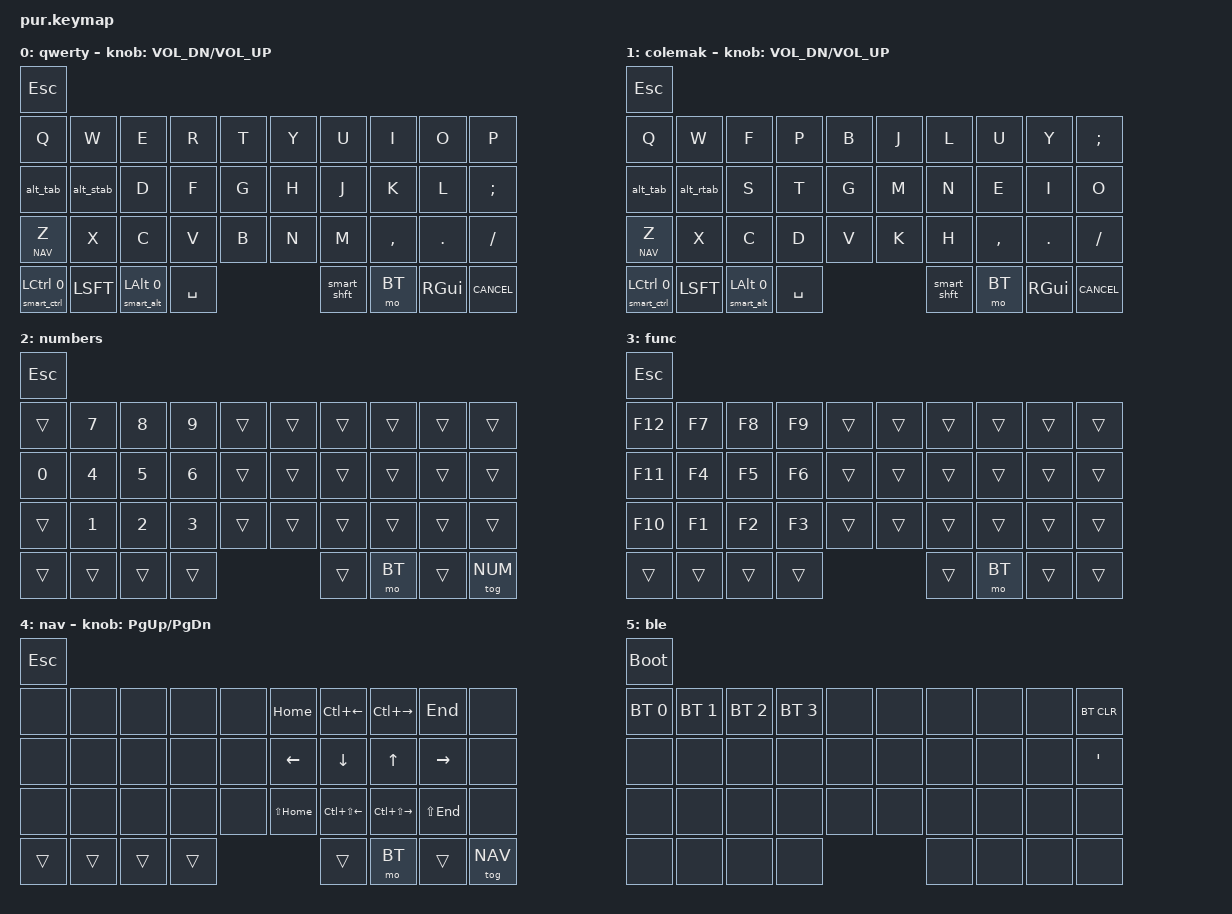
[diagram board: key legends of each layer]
#include <behaviors.dtsi>
#include <dt-bindings/zmk/keys.h>
#include <dt-bindings/zmk/bt.h>

#include "../../../../zmk-nodefree-config/helper.h"

#define QWERTY 0
#define COLEMAK 1
#define NUM 2
#define FUNC 3
#define NAV 4
#define BT 5
 
/* num layer switch */
// ZMK_BEHAVIOR(num_dance, hold_tap, flavor = "balanced", bindings = <&tog>, <&sl>;       tapping-term-ms = <200>; quick-tap-ms = <200>;)

/ {
    behaviors {
        num_dance: num_dance_hold_tap {
            compatible = "zmk,behavior-hold-tap";
            #binding-cells = <2>;
            flavor = "balanced";
            tapping-term-ms = <150>;
            quick-tap-ms = <200>;
            bindings = <&tog>, <&sl>;
        };
    };
};

#include "combos.dtsi"

&sk {
    release-after-ms = <800>;
    quick-release;
};

/* parentheses, braces, brackets, chevrons morphs */
ZMK_BEHAVIOR(lparchev, mod_morph, bindings = <&kp LPAR>, <&kp LT>; mods = <(MOD_LSFT)>;)
ZMK_BEHAVIOR(rparchev, mod_morph, bindings = <&kp RPAR>, <&kp GT>; mods = <(MOD_LSFT)>;)
ZMK_BEHAVIOR(lbrkbrc, mod_morph, bindings = <&kp LBKT>, <&kp LBRC>; mods = <(MOD_LSFT)>;)
ZMK_BEHAVIOR(rbrkbrc, mod_morph, bindings = <&kp RBKT>, <&kp RBRC>; mods = <(MOD_LSFT)>;)

/* caps word morph */
ZMK_BEHAVIOR(smart_shft, mod_morph, bindings = <&sk RSFT>, <&kp CAPS>; mods = <(MOD_RSFT)>;)

/* LALT morphs */
ZMK_BEHAVIOR(alt_tab, mod_morph, bindings = <&kp A>, <&kp TAB>; mods = <(MOD_LALT)>; keep-mods = <(MOD_LALT)>;)
ZMK_BEHAVIOR(alt_stab, mod_morph, bindings = <&kp S>, <&kp LS(TAB)>; mods = <(MOD_LALT)>; keep-mods = <(MOD_LALT)>;)
ZMK_BEHAVIOR(alt_rtab, mod_morph, bindings = <&kp R>, <&kp LS(TAB)>; mods = <(MOD_LALT)>; keep-mods = <(MOD_LALT)>;)

/* smart modifiers */
ZMK_BEHAVIOR(dance_ctrl, tap_dance, bindings = <&kp LCTRL>, <&kp LC(LSFT)>; tapping-term-ms = <200>;)
ZMK_BEHAVIOR(dance_alt, tap_dance, bindings = <&kp LGUI>, <&kp LGUI>; tapping-term-ms = <200>;)
ZMK_BEHAVIOR(smart_ctrl, hold_tap, flavor = "balanced"; bindings = <&kp>, <&dance_ctrl>; tapping-term-ms = <200>; quick-tap-ms = <200>;)
ZMK_BEHAVIOR(smart_alt, hold_tap, flavor = "balanced"; bindings = <&kp>, <&dance_alt>; tapping-term-ms = <200>; quick-tap-ms = <200>;)

/* existing behavior settings */
&sl { ignore-modifiers; release-after-ms = <10000>; };
&lt { flavor = "balanced"; tapping-term-ms = <200>; quick-tap-ms = <200>; require-prior-idle-ms = <200>; };


/* TODO: caps/caps word, quote, exclmark, combos (probably hold taps?) for %in%, ==, != */

/ {
    keymap {
        compatible = "zmk,keymap";

        QWERTY {
            label = "qwerty";
            bindings = <
    &kp ESC
    &kp Q        &kp W        &kp E        &kp R        &kp T     &kp Y     &kp U    &kp I      &kp O     &kp P
    &alt_tab     &alt_stab    &kp D        &kp F        &kp G     &kp H     &kp J    &kp K      &kp L     &kp SEMI
    &lt NAV Z    &kp X        &kp C        &kp V        &kp B     &kp N     &kp M    &kp COMMA  &kp DOT   &kp SLASH
    &smart_ctrl LCTRL 0 &kp LSFT &smart_alt LALT 0      &kp SPACE &smart_shft        &mo BT     &kp RGUI  &kp K_CANCEL
            >;
            sensor-bindings = <&inc_dec_kp C_VOL_DN C_VOL_UP>;
        };
        COLEMAK{
            label = "colemak";
            bindings = <
    &kp ESC
    &kp Q        &kp W        &kp F        &kp P        &kp B     &kp J     &kp L    &kp U      &kp Y     &kp SEMI
    &alt_tab     &alt_rtab    &kp S        &kp T        &kp G     &kp M     &kp N    &kp E      &kp I     &kp O
    &lt NAV Z    &kp X        &kp C        &kp D        &kp V     &kp K     &kp H    &kp COMMA  &kp DOT   &kp SLASH
    &smart_ctrl LCTRL 0 &kp LSFT &smart_alt LALT 0      &kp SPACE &smart_shft        &mo BT     &kp RGUI  &kp K_CANCEL
            >;
            sensor-bindings = <&inc_dec_kp C_VOL_DN C_VOL_UP>;
        };
        NUM{
            label = "numbers";
            bindings = <
    &kp ESC
    &trans       &kp N7       &kp N8       &kp N9       &trans    &trans    &trans   &trans    &trans    &trans
    &kp N0       &kp N4       &kp N5       &kp N6       &trans    &trans    &trans   &trans    &trans    &trans
    &trans       &kp N1       &kp N2       &kp N3       &trans    &trans    &trans   &trans    &trans    &trans
    &trans       &trans       &trans                    &trans    &trans             &mo BT    &trans    &tog NUM
            >;
        };
        FUNC{
            label = "func";
            bindings = <
    &kp ESC
    &kp F12      &kp F7       &kp F8       &kp F9       &trans    &trans    &trans   &trans    &trans    &trans
    &kp F11      &kp F4       &kp F5       &kp F6       &trans    &trans    &trans   &trans    &trans    &trans
    &kp F10      &kp F1       &kp F2       &kp F3       &trans    &trans    &trans   &trans    &trans    &trans
    &trans       &trans       &trans                    &trans    &trans             &mo BT    &trans    &trans
            >;
        };
        NAV{
            label = "nav";
            bindings = <
    &kp ESC
    &none        &none        &none        &none        &none     &kp HOME  &kp LC(LEFT) &kp LC(RIGHT) &kp END       &none
    &none        &none        &none        &none        &none     &kp LEFT  &kp DOWN     &kp UP        &kp RIGHT     &none
    &none        &none        &none        &none        &none     &kp LS(HOME)  &kp LC(LS(LEFT)) &kp LC(LS(RIGHT))  &kp LS(END) &none
    &trans       &trans       &trans                    &trans    &trans                 &mo BT        &trans        &tog NAV
            >;
            sensor-bindings = <&inc_dec_kp PG_UP PG_DN>;
        };
        BT {
            label = "ble";
            bindings = <
    &bootloader
    &bt BT_SEL 0 &bt BT_SEL 1 &bt BT_SEL 2 &bt BT_SEL 3 &none     &none     &none    &none     &none     &bt BT_CLR
    &none        &none        &none        &none        &none     &none     &none    &none     &none     &kp SQT
    &none        &none        &none        &none        &none     &none     &none    &none     &none     &none
    &none        &none        &none                     &none     &none              &none     &none     &none
            >;
        };
    };
};
